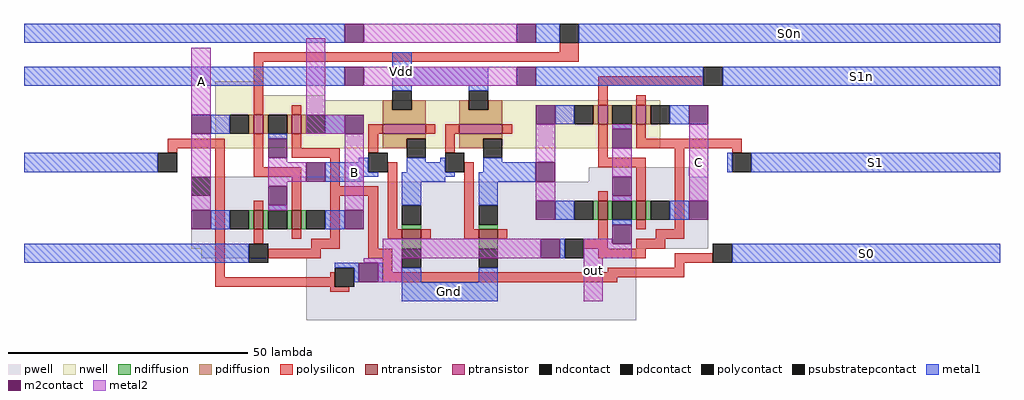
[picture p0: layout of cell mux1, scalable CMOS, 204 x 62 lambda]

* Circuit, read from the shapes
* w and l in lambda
.subckt mux1 A B C Gnd S0 S0n S1 S1n Vdd out
M1 n1 S0 A VSUBS nfet w=4 l=2
M2 B S0n n1 VSUBS nfet w=4 l=2
M3 n2 n1 Gnd VSUBS nfet w=4 l=2
M4 n3 n2 Gnd VSUBS nfet w=4 l=2
M5 out S1 n3 VSUBS nfet w=4 l=2
M6 C S1n out VSUBS nfet w=4 l=2
M7 n1 S0n A n4 pfet w=4 l=2
M8 B S0 n1 n4 pfet w=4 l=2
M9 Vdd n1 n2 n4 pfet w=9 l=2
M10 Vdd n2 n3 n4 pfet w=9 l=2
M11 out S1n n3 n4 pfet w=4 l=2
M12 C S1 out n4 pfet w=4 l=2
.ends

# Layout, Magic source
magic
tech scmos
<< pwell >>
rect -22 -1 -1 1
rect -105 -2 -69 -1
rect -22 -2 3 -1
rect -105 -16 3 -2
rect -103 -18 -12 -16
rect -81 -31 -12 -18
<< nwell >>
rect -100 16 -90 19
rect -100 15 -77 16
rect -100 5 -7 15
<< polysilicon >>
rect -28 25 -24 27
rect -92 23 -24 25
rect -92 12 -90 23
rect -20 18 2 20
rect -84 12 -82 14
rect -20 14 -18 18
rect -12 14 -10 16
rect -68 8 -65 10
rect -56 8 -54 10
rect -52 8 -49 10
rect -40 8 -38 10
rect -110 5 -98 7
rect -110 4 -108 5
rect -100 -22 -98 5
rect -92 1 -90 8
rect -84 5 -82 8
rect -84 3 -74 5
rect -92 -1 -82 1
rect -92 -8 -90 -6
rect -84 -8 -82 -1
rect -76 -3 -74 3
rect -68 4 -66 8
rect -52 4 -50 8
rect -76 -5 -66 -3
rect -92 -15 -90 -12
rect -84 -14 -82 -12
rect -76 -14 -74 -5
rect -80 -16 -74 -14
rect -68 -16 -66 -5
rect -64 -12 -62 2
rect -20 3 -18 10
rect -12 7 -10 10
rect -12 5 10 7
rect -48 -12 -46 2
rect -20 1 -10 3
rect -20 -6 -18 -4
rect -12 -6 -10 1
rect -64 -14 -61 -12
rect -57 -14 -55 -12
rect -48 -14 -45 -12
rect -41 -14 -39 -12
rect -20 -14 -18 -10
rect -12 -12 -10 -10
rect -4 -12 -2 5
rect 8 4 10 5
rect -8 -14 -2 -12
rect -89 -18 -78 -16
rect -68 -18 -63 -16
rect -76 -22 -75 -21
rect -100 -24 -75 -22
rect -65 -21 -63 -18
rect -23 -16 -18 -14
rect -12 -16 -6 -14
rect -20 -18 -10 -16
rect -4 -19 4 -17
rect -4 -20 -2 -19
rect -18 -21 -2 -20
rect -65 -22 -2 -21
rect -65 -23 -16 -22
rect -76 -25 -72 -24
<< ndiffusion >>
rect -93 -12 -92 -8
rect -90 -12 -89 -8
rect -85 -12 -84 -8
rect -82 -12 -81 -8
rect -61 -12 -57 -11
rect -21 -10 -20 -6
rect -18 -10 -17 -6
rect -13 -10 -12 -6
rect -10 -10 -9 -6
rect -45 -12 -41 -11
rect -61 -16 -57 -14
rect -45 -16 -41 -14
<< pdiffusion >>
rect -65 13 -63 15
rect -59 13 -56 15
rect -93 8 -92 12
rect -90 8 -89 12
rect -85 8 -84 12
rect -82 8 -81 12
rect -65 10 -56 13
rect -49 13 -47 15
rect -43 13 -40 15
rect -49 10 -40 13
rect -21 10 -20 14
rect -18 10 -17 14
rect -13 10 -12 14
rect -10 10 -9 14
rect -65 7 -56 8
rect -65 5 -60 7
rect -49 7 -40 8
rect -49 5 -44 7
<< metal1 >>
rect -140 27 -73 31
rect -33 27 -28 31
rect -24 27 64 31
rect -63 22 -59 25
rect -140 18 -73 22
rect -63 18 -43 22
rect -33 18 2 22
rect 6 18 64 22
rect -63 17 -59 18
rect -47 17 -43 18
rect -101 8 -97 12
rect -77 8 -73 12
rect -29 10 -25 14
rect -5 10 -1 14
rect -17 9 -13 10
rect -89 7 -85 8
rect -140 0 -112 4
rect -70 2 -68 3
rect -77 0 -68 2
rect -60 2 -56 3
rect -53 2 -52 3
rect -60 0 -52 2
rect -44 2 -40 3
rect -44 0 -33 2
rect -77 -1 -66 0
rect -61 -1 -50 0
rect -77 -2 -69 -1
rect -61 -2 -52 -1
rect -45 -2 -33 0
rect 7 0 8 4
rect 12 0 64 4
rect -89 -8 -85 -7
rect -61 -7 -57 -2
rect -101 -12 -97 -8
rect -77 -12 -73 -8
rect -45 -7 -41 -2
rect -17 -6 -13 -5
rect -29 -10 -25 -6
rect -5 -10 -1 -6
rect -17 -11 -13 -10
rect -140 -19 -93 -15
rect -75 -20 -70 -19
rect -71 -23 -70 -20
rect -66 -23 -65 -19
rect -61 -23 -57 -20
rect -28 -18 -27 -14
rect 8 -19 64 -15
rect -45 -23 -41 -20
rect -61 -27 -41 -23
<< metal2 >>
rect -105 12 -101 26
rect -81 12 -77 28
rect -69 27 -37 31
rect -69 18 -37 22
rect -81 8 -73 12
rect -105 -8 -101 8
rect -89 2 -85 3
rect -89 -2 -81 2
rect -89 -3 -85 -2
rect -89 -8 -85 -7
rect -73 -8 -69 8
rect -33 2 -29 10
rect -33 -6 -29 -2
rect -17 9 -13 10
rect -17 -1 -13 5
rect -17 -6 -13 -5
rect -1 -6 3 10
rect -65 -18 -32 -14
rect -23 -15 -17 -14
rect -23 -18 -13 -15
rect -69 -19 -61 -18
rect -66 -23 -61 -19
rect -23 -27 -19 -18
<< ntransistor >>
rect -92 -12 -90 -8
rect -84 -12 -82 -8
rect -20 -10 -18 -6
rect -12 -10 -10 -6
rect -61 -14 -57 -12
rect -45 -14 -41 -12
<< ptransistor >>
rect -92 8 -90 12
rect -84 8 -82 12
rect -20 10 -18 14
rect -12 10 -10 14
rect -65 8 -56 10
rect -49 8 -40 10
<< polycontact >>
rect -28 27 -24 31
rect 2 18 6 22
rect -112 0 -108 4
rect -68 0 -64 4
rect -93 -19 -89 -15
rect -52 0 -48 4
rect 8 0 12 4
rect -75 -24 -71 -20
rect -27 -18 -23 -14
rect 4 -19 8 -15
<< ndcontact >>
rect -97 -12 -93 -8
rect -89 -12 -85 -8
rect -81 -12 -77 -8
rect -61 -11 -57 -7
rect -45 -11 -41 -7
rect -25 -10 -21 -6
rect -17 -10 -13 -6
rect -9 -10 -5 -6
rect -61 -20 -57 -16
rect -45 -20 -41 -16
<< pdcontact >>
rect -63 13 -59 17
rect -97 8 -93 12
rect -89 8 -85 12
rect -81 8 -77 12
rect -47 13 -43 17
rect -25 10 -21 14
rect -17 10 -13 14
rect -9 10 -5 14
rect -60 3 -56 7
rect -44 3 -40 7
<< m2contact >>
rect -73 27 -69 31
rect -37 27 -33 31
rect -73 18 -69 22
rect -37 18 -33 22
rect -105 8 -101 12
rect -73 8 -69 12
rect -33 10 -29 14
rect -1 10 3 14
rect -89 3 -85 7
rect -81 -2 -77 2
rect -17 5 -13 9
rect -33 -2 -29 2
rect -89 -7 -85 -3
rect -105 -12 -101 -8
rect -73 -12 -69 -8
rect -17 -5 -13 -1
rect -33 -10 -29 -6
rect -1 -10 3 -6
rect -70 -23 -66 -19
rect -32 -18 -28 -14
rect -17 -15 -13 -11
<< psubstratepcontact >>
rect -105 -5 -101 -1
<< labels >>
rlabel metal1 -24 27 64 31 5 S0n
rlabel metal1 6 18 64 22 1 S1n
rlabel metal1 12 0 64 4 1 S1
rlabel metal1 8 -19 64 -15 1 S0
rlabel metal2 -23 -27 -19 -14 1 out
rlabel metal2 -105 12 -101 26 1 A
rlabel metal2 -73 -8 -69 8 1 B
rlabel metal2 -1 -6 3 10 1 C
rlabel metal1 -63 17 -59 25 1 Vdd
rlabel metal1 -61 -27 -41 -23 1 Gnd
<< end >>
